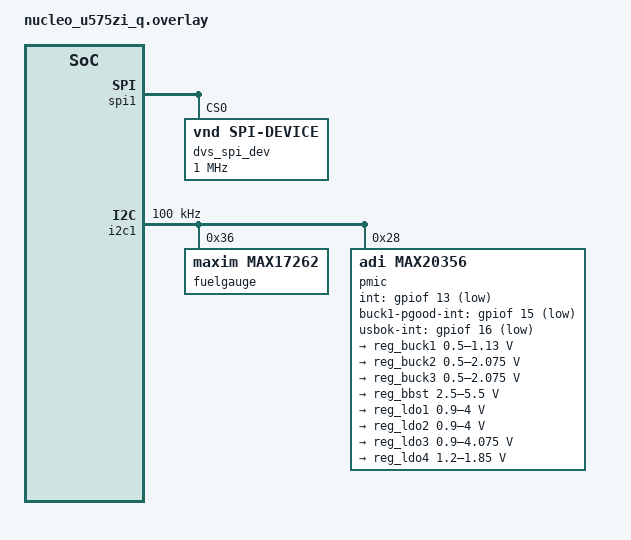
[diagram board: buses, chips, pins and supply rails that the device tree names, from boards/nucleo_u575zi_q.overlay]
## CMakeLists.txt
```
# SPDX-License-Identifier: Apache-2.0

cmake_minimum_required(VERSION 3.28.0)
find_package(Zephyr REQUIRED HINTS $ENV{ZEPHYR_BASE})
project(mfd_max20356_wdog)

FILE(GLOB app_sources src/*.c)
target_sources(app PRIVATE ${app_sources})
```

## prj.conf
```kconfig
CONFIG_PM_DEVICE=y
CONFIG_STDOUT_CONSOLE=y
CONFIG_I2C=y
CONFIG_MFD=y
CONFIG_GPIO=y
CONFIG_REGULATOR=y
CONFIG_SPI=y
CONFIG_CHARGER=y
CONFIG_SENSOR=y
CONFIG_WATCHDOG=y
CONFIG_MAX20356_TRIGGER_OWN_THREAD=y
```

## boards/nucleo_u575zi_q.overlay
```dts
/*
 * Copyright (c) 2026 Analog Devices Inc
 *
 * SPDX-License-Identifier: Apache-2.0
 *
 * Hardware configuration spec for the MAX20356 PMIC validation sample. Every
 * rail of the part is instantiated and a broad subset of the device-, charger-
 * and regulator-level init options is exercised so a probe can confirm the I2C
 * writes reached the chip.
 *
 * DVS: buck1/buck3 use I2C DVS (Mode 0) so their setpoint is software-driven and
 * probe-able; buck2 uses GPIO DVS (Mode 1) with an MPC pin pair selecting one of
 * four presets. SPI DVS (Mode 2) is intentionally not used here as it needs
 * MPC0/1/2 wired to an SPI controller.
 *
 * Each lockable rail (bucks, buck-boost, LDOs) sets adi,lock-enable so the
 * driver wraps register writes in the password sequence; this guarantees the
 * writes land even if the rail powered up OTP-locked, so a return of 0 from the
 * regulator API means the register actually changed.
 */

#include <zephyr/dt-bindings/i2c/i2c.h>
#include <zephyr/dt-bindings/mfd/max20356.h>

/* SPI DVS (Mode 2) target for buck3. On hardware the controller's CS/SCLK/DIN
 * must be wired to the PMIC's MPC0/MPC1/MPC2 pins. CONFIG_SPI must be set so the
 * SPI controller driver is built; otherwise SPI_DT_SPEC_GET references an
 * undefined controller device struct and the link fails.
 */
&spi1 {
	status = "okay";

	dvs_spi_dev: dvs-spi-dev@0 {
		compatible = "vnd,spi-device";
		reg = <0>;
		spi-max-frequency = <1000000>;
	};
};

dev: &i2c1 {
	status = "okay";
	clock-frequency = <I2C_BITRATE_STANDARD>;

	fuelgauge: max17262@36 {
		compatible = "maxim,max17262";
		reg = <0x36>;
		design-voltage = <3600>;
		desired-voltage = <3600>;
		desired-charging-current = <2000>;
		design-cap = <17000>;
		empty-voltage = <3300>;
		recovery-voltage = <3880>;
		charge-voltage = <3600>;
		status = "okay";
	};

	pmic: max20356@28 {
		compatible = "adi,max20356";
		reg = <0x28>;
		status = "okay";
		int-gpios = <&gpiof 13 GPIO_ACTIVE_LOW>;

		/* The watchdog is fed by reading Int5, so the charger/limiter reset
		 * this sample demonstrates only fires while nothing reads Int5. That
		 * holds here: the WDTmr interrupt is masked on INTB by default
		 * (IntMask5.WDTmrM resets to 0) and the sample registers no INTB
		 * callbacks, so no source asserts INTB and the parent never reads
		 * Int5 on its own. int-gpios is kept because MFD_MAX20356_TRIGGER
		 * (and therefore the WDT_MAX20356 driver) depends on it.
		 */

		/* SPI DVS (Mode 2) controller, wired to MPC0/MPC1/MPC2; shared by
		 * any buck child selecting adi,dvs-mode = "spi" (here buck3).
		 */
		spi-dvs = <&dvs_spi_dev>;

		/* MPC-routed interrupt watch lines (buck1-PGOOD / USBOK). */
		adi,buck1-pgood-int-gpios = <&gpiof 15 GPIO_ACTIVE_LOW>;
		adi,usbok-int-gpios = <&gpiof 16 GPIO_ACTIVE_LOW>;

		/* Device-level init: PwrCfg and MiscFunctions bits. */
		adi,intb-unmasked-in-shutdown;
		adi,active-discharge-constant;
		adi,rtc-ldo-off;
		adi,factory-mode-disabled;
		adi,ivmon-high-impedance;

		/* Input-limiter / SYS-regulation init block. */
		adi,input-current-limit-milliamp = <300>;
		adi,input-current-limit-max-milliamp = <450>;
		adi,input-current-limit-blanking-microsec = <1000>;
		adi,sys-discharge-in-recovery;
		adi,sys-min-voltage-microvolt = <3600000>;
		adi,sys-uvlo-threshold-microvolt = <3000000>;

		/* Boot / reset init block. */
		adi,power-reset-config = <5>;
		adi,soft-reset-keeps-registers;
		adi,boot-delay-milliseconds = <220>;
		adi,sys-uvlo-auto-retry;

		wdt: watchdog {
			compatible = "adi,max20356-watchdog";

			/* adi,lock-enable is intentionally omitted: the sample
			 * overrides WDCntl.WDRstType to the charger/limiter-only
			 * action with mfd_max20356_wdt_set_rsttype(), which writes
			 * WDCntl directly (no password sequence). Leaving the node
			 * unlocked keeps the arm and the override consistent.
			 */
		};

		gpio_mpc: gpio {
			compatible = "adi,max20356-gpio";
			gpio-controller;
			#gpio-cells = <2>;
			/* MPC3/MPC5 (buck2 GPIO DVS) and MPC6/MPC7 (rail enable
			 * routing) are consumed below, so expose only MPC0,1,2,4
			 * as GPIOs here is not possible per-pin; ngpios covers the
			 * controller and the driver rejects double-claimed pins.
			 */
			ngpios = <8>;
		};

		charger: charger {
			compatible = "adi,max20356-charger";

			/* Core CC/CV setpoints (standard charger API). */
			constant-charge-current-microamp = <100000>;
			constant-charge-voltage-microvolt = <4200000>;

			/* CC zones and control bits. */
			adi,cc1-enable;
			adi,cc2-charge-current-microamp = <200000>;
			adi,charge-autostop;
			adi,charge-auto-restart;
			adi,cc1-timer-limit;

			/* Recharge / precharge / done thresholds. */
			adi,recharge-threshold-microvolt = <100000>;
			adi,precharge-voltage-microvolt = <3000000>;
			adi,precharge-current-percent = <10>;
			adi,charge-done-current-percent = <10>;

			/* Safety timers. */
			adi,maintain-charge-timer-minutes = <30>;
			adi,precharge-timer-minutes = <60>;
			adi,cc1-fastcharge-timer-minutes = <120>;
			adi,safety-timer-minutes = <300>;

			/* Step charge. */
			adi,step-charge-hysteresis-microvolt = <300000>;
			adi,step-charge-rise-microvolt = <4000000>;

			/* JEITA thermal zones. */
			adi,cool-cc1-current-percent = <50>;
			adi,cool-batreg-offset-microvolt = <100000>;
			adi,cool-cc2-current-percent = <50>;
			adi,room-cc1-current-percent = <100>;
			adi,room-batreg-offset-microvolt = <0>;
			adi,room-cc2-current-percent = <100>;
			adi,warm-cc1-current-percent = <50>;
			adi,warm-batreg-offset-microvolt = <100000>;
			adi,warm-cc2-current-percent = <50>;
			adi,jeita-t1-cc1-celsius = <0>;
			adi,jeita-t2-cc1-celsius = <10>;
			adi,jeita-t3-cc1-celsius = <45>;
			adi,jeita-t4-cc1-celsius = <45>;
			adi,thermal-limit-celsius = <100>;
			adi,thermistor-pullup-ohms = <10000>;
			adi,thermistor-monitoring-mode = <3>;
		};

		regulators {
			compatible = "adi,max20356-regulator";

			/* MPC enable routing: MPC6 -> LSW2, MPC7 -> LSW3. These
			 * two rails are therefore enable-controlled by hardware
			 * (and sit in sequencing slot 7); the sample does not
			 * software-toggle them. Pins 0..2 are free, 3/5 are the
			 * buck2 GPIO DVS pair, 4 is free.
			 */
			adi,mpc-enable-rails =
				<MAX20356_MPC_NONE MAX20356_MPC_NONE MAX20356_MPC_NONE
				 MAX20356_MPC_NONE MAX20356_MPC_NONE MAX20356_MPC_NONE
				 MAX20356_MPC_LSW2 MAX20356_MPC_LSW3>;

			reg_buck1: buck1 {
				/* 10mV step -> 0.5-1.13V range. */
				adi,buck-voltage-step-microvolt = <10000>;
				regulator-min-microvolt = <500000>;
				regulator-max-microvolt = <1130000>;
				regulator-boot-on;
				adi,lock-enable;
				adi,sequence-slot = <1>;
				adi,buck-low-emi;
				adi,buck-forced-pwm;
				adi,buck-pgood-enable;
				adi,buck-passive-discharge;
				regulator-active-discharge = <1>;
			};

			reg_buck2: buck2 {
				/* 25mV step -> 0.5-2.075V range, GPIO DVS. */
				adi,buck-voltage-step-microvolt = <25000>;
				adi,dvs-mode = "gpio";
				adi,dvs-mpc-pair = <3 5>;
				adi,dvs-voltages =
					<1000000 1100000 1200000 1300000>;
				adi,dvs-valley-current-microamp = <1000000>;
				regulator-min-microvolt = <500000>;
				regulator-max-microvolt = <2075000>;
				adi,lock-enable;
				adi,buck-dvs-ipmax;
				adi,buck-low-bandwidth;
				adi,buck-force-dcm;
			};

			reg_buck3: buck3 {
				/* 25mV step -> 0.5-2.075V range, SPI DVS (Mode 2).
				 * The setpoint is clocked to the buck as a
				 * command byte over the parent's spi-dvs
				 * controller, whose CS/SCLK/DIN must be wired to
				 * MPC0/MPC1/MPC2.
				 */
				adi,buck-voltage-step-microvolt = <25000>;
				adi,dvs-mode = "spi";
				regulator-min-microvolt = <500000>;
				regulator-max-microvolt = <2075000>;
				adi,lock-enable;
				adi,buck-fast;
			};

			reg_bbst: buckboost {
				regulator-min-microvolt = <2500000>;
				regulator-max-microvolt = <5500000>;
				adi,lock-enable;
				adi,bbst-low-emi;
				adi,bbst-fast;
				adi,bbst-ramp-enable;
				adi,bbst-passive-discharge;
				adi,bbst-fhigh-threshold-kilohertz = <50>;
				regulator-active-discharge = <1>;
			};

			reg_ldo1: ldo1 {
				/* 0.9-4.0V, linear-regulator mode. */
				regulator-min-microvolt = <900000>;
				regulator-max-microvolt = <4000000>;
				regulator-initial-mode = <MAX20356_MODE_LDO>;
				regulator-allowed-modes =
					<MAX20356_MODE_LDO MAX20356_MODE_LOAD_SWITCH>;
				adi,lock-enable;
				adi,ldo1-passive-discharge;
			};

			reg_ldo2: ldo2 {
				/* 0.9-4.0V, load-switch mode selectable at runtime. */
				regulator-min-microvolt = <900000>;
				regulator-max-microvolt = <4000000>;
				regulator-initial-mode = <MAX20356_MODE_LOAD_SWITCH>;
				regulator-allowed-modes =
					<MAX20356_MODE_LDO MAX20356_MODE_LOAD_SWITCH>;
				adi,lock-enable;
				adi,ldo2-passive-discharge;
			};

			reg_ldo3: ldo3 {
				/* 0.9-4.075V, 25mV step. */
				regulator-min-microvolt = <900000>;
				regulator-max-microvolt = <4075000>;
				adi,lock-enable;
				adi,sequence-slot = <5>;
				adi,ldo3-no-clip-protection;
				adi,ldo3-passive-discharge;
			};

			reg_ldo4: ldo4 {
				/* RTC LDO: fixed voltage set. */
				regulator-min-microvolt = <1200000>;
				regulator-max-microvolt = <1850000>;
				adi,lock-enable;
				adi,ldo4-passive-discharge;
			};

			reg_lsw1: lsw1 {
				/* Load switch, software-enabled, non-lockable. */
				adi,lsw-low-iq;
				adi,lsw-passive-discharge;
			};

			reg_lsw2: lsw2 {
				/* Enable routed to MPC6; slot 7 required. */
				adi,sequence-slot = <7>;
			};

			reg_lsw3: lsw3 {
				/* Enable routed to MPC7; slot 7 required. */
				adi,sequence-slot = <7>;
			};
		};
	};
};
```

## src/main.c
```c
/*
 * Copyright (c) 2026 Analog Devices Inc.
 *
 * SPDX-License-Identifier: Apache-2.0
 *
 * MAX20356 PMIC watchdog charger-reset sample.
 *
 * Demonstrates the watchdog charger/limiter-only reset action (WDCntl.WDRstType
 * = 0b01): when the timer expires it resets the charger and input-limiter
 * registers to their defaults instead of resetting the SoC. The sample
 * configures the charger (modifying ChgCur0.CC1IFChg and enabling charging via
 * ChgCntl0.ChgEn) and the input limiter (ILimCtrl1/ILimCtrl2), records the charge
 * type and the limiter registers, arms the watchdog for reset type 1, feeds it a
 * few times to show normal servicing, then stops feeding so the timer expires.
 * After the reset it reads both back: the charge type should return to its
 * pre-configuration value and the limiter registers to their defaults, since both
 * the charger and the input limiter are in the reset scope.
 *
 * The MAX20356 keeps its register state across an SoC reboot (it has its own
 * power domain), so the MFD parent driver now soft-resets the device at init to
 * start from defaults; without that, "initial" readings here would be whatever a
 * previous run left behind.
 *
 * The watchdog is fed by reading Int5 (wdt_feed() performs that read), so the
 * reset only fires while nothing reads Int5. The WDTmr interrupt is masked on
 * INTB by default
 * (IntMask5.WDTmrM resets to 0) and this sample registers no INTB callbacks, so
 * no source asserts INTB and the parent never reads Int5 on its own. Reading the
 * charge type (Status0) during the wait does not feed the timer; only an Int5
 * read does.
 */

#include <zephyr/kernel.h>
#include <zephyr/device.h>
#include <zephyr/drivers/charger.h>
#include <zephyr/drivers/mfd/max20356.h>
#include <zephyr/drivers/watchdog.h>
#include <zephyr/sys/util.h>
#include <sys/errno.h>
#include <stdio.h>

/* Set to 1 to enable the register-level debug dumps (raw I2C reads of the
 * watchdog and charger registers through the public MFD helper). Left on by
 * default here as this is a bring-up sample; set to 0 to silence them.
 */
#define WDT_DEMO_DEBUG 1

/* Register addresses and field masks used by the optional debug dumps. These
 * mirror the private driver definitions in drivers/mfd/mfd_max20356.h (not a
 * public header) so the sample can read the registers back over I2C through the
 * public mfd_max20356_reg_read() helper and confirm the configuration landed.
 */
#define MAX20356_REG_STATUS0          0x01
#define MAX20356_STATUS0_CHGSTAT_MSK  GENMASK(3, 0)
#define MAX20356_REG_CHGCUR0          0x17
#define MAX20356_CHGCUR0_CC1IFCHG_MSK GENMASK(6, 0)
#define MAX20356_REG_CHGCNTL0         0x19
#define MAX20356_CHGCNTL0_CHGEN_MSK   BIT(7)
#define MAX20356_REG_WDCNTL           0x2A
#define MAX20356_WDCNTL_WDRSTTYPE_MSK GENMASK(3, 2)
#define MAX20356_WDCNTL_WDTMRSEL_MSK  GENMASK(1, 0)
#define MAX20356_REG_ILIMCTRL1          0x13
#define MAX20356_ILIMCTRL1_ILIMBLANK_MSK GENMASK(7, 6)
#define MAX20356_ILIMCTRL1_ILIMMAX_MSK   GENMASK(5, 3)
#define MAX20356_ILIMCTRL1_ILIMCNTL_MSK  GENMASK(2, 0)
#define MAX20356_REG_ILIMCTRL2          0x14
#define MAX20356_ILIMCTRL2_SYSDSCEN_MSK  BIT(5)
#define MAX20356_ILIMCTRL2_SYSMINVLT_MSK GENMASK(3, 0)

/* Shortest selectable watchdog window (WDTmrSel 0 => 4 s). */
#define WDT_DEMO_WINDOW_MS 4000U
/* Number of in-window feeds that demonstrate normal servicing before the fault.
 * Each wdt_feed() reads Int5 (the kick), which keeps the timer from expiring.
 */
#define WDT_DEMO_FEED_COUNT 3
/* How long to leave the watchdog unfed, in multiples of the window. The first
 * expiry after arming is ignored by the hardware (the first interval is
 * effectively doubled), so a reset lands roughly two windows after arming; wait
 * a couple more for margin.
 */
#define WDT_DEMO_FAULT_WINDOWS 4

#define WDT_DEMO_MODIFIED_ICHG_UA 300000

/* Input-limiter values the sample writes before arming the watchdog, chosen to
 * differ from the register defaults (ILimCtrl1 resets to 0x00, ILimCtrl2's
 * SysDSCEn/SysMinVlt reset to 0) so the writes are real changes; the
 * charger/limiter reset returns both registers to those defaults.
 */
#define WDT_DEMO_ILIMCTRL1_VAL                                                                      \
	(FIELD_PREP(MAX20356_ILIMCTRL1_ILIMBLANK_MSK, 0x2U) |                                       \
	 FIELD_PREP(MAX20356_ILIMCTRL1_ILIMMAX_MSK, 0x5U) |                                         \
	 FIELD_PREP(MAX20356_ILIMCTRL1_ILIMCNTL_MSK, 0x3U))
#define WDT_DEMO_ILIMCTRL1_MSK                                                                      \
	(MAX20356_ILIMCTRL1_ILIMBLANK_MSK | MAX20356_ILIMCTRL1_ILIMMAX_MSK |                        \
	 MAX20356_ILIMCTRL1_ILIMCNTL_MSK)
#define WDT_DEMO_ILIMCTRL2_VAL                                                                      \
	(MAX20356_ILIMCTRL2_SYSDSCEN_MSK | FIELD_PREP(MAX20356_ILIMCTRL2_SYSMINVLT_MSK, 0x8U))
#define WDT_DEMO_ILIMCTRL2_MSK                                                                      \
	(MAX20356_ILIMCTRL2_SYSDSCEN_MSK | MAX20356_ILIMCTRL2_SYSMINVLT_MSK)

static const char *now_str(void)
{
	static char buf[16]; /* ...HH:MM:SS.MMM */
	uint32_t now = k_uptime_get_32();
	unsigned int ms = now % MSEC_PER_SEC;
	unsigned int s;
	unsigned int min;
	unsigned int h;

	now /= MSEC_PER_SEC;
	s = now % 60U;
	now /= 60U;
	min = now % 60U;
	now /= 60U;
	h = now;

	snprintf(buf, sizeof(buf), "%u:%02u:%02u.%03u", h, min, s, ms);
	return buf;
}

static const char *charge_type_str(enum charger_charge_type type)
{
	switch (type) {
	case CHARGER_CHARGE_TYPE_NONE:
		return "none";
	case CHARGER_CHARGE_TYPE_TRICKLE:
		return "trickle";
	case CHARGER_CHARGE_TYPE_FAST:
		return "fast";
	case CHARGER_CHARGE_TYPE_STANDARD:
		return "standard";
	case CHARGER_CHARGE_TYPE_ADAPTIVE:
		return "adaptive";
	case CHARGER_CHARGE_TYPE_LONGLIFE:
		return "longlife";
	case CHARGER_CHARGE_TYPE_BYPASS:
		return "bypass";
	default:
		return "unknown";
	}
}

/* Live charge-type read: decoded from Status0.ChgStat, so it reflects the actual
 * charger register state rather than a cached software value. A charger/limiter
 * reset (WDRstType = 0b01) clears ChgCntl0.ChgEn, which the charger state machine
 * reports back here.
 */
static int read_charge_type(const struct device *chgdev, enum charger_charge_type *type)
{
	union charger_propval val;
	int ret;

	ret = charger_get_prop(chgdev, CHARGER_PROP_CHARGE_TYPE, &val);
	if (ret != 0) {
		return ret;
	}

	*type = val.charge_type;
	return 0;
}

#if WDT_DEMO_DEBUG
/* Dump the watchdog control register and decode its fields so the arm/reset-type
 * configuration can be verified against what was programmed.
 */
static void debug_dump_watchdog(const struct device *pmic)
{
	uint8_t wdcntl;
	int ret;

	ret = mfd_max20356_reg_read(pmic, MAX20356_REG_WDCNTL, &wdcntl);
	if (ret != 0) {
		printk("[%s]:   DBG WDCntl (0x%02x) read failed: %d\n", now_str(),
		       MAX20356_REG_WDCNTL, ret);
		return;
	}

	printk("[%s]:   DBG WDCntl   (0x%02x) = 0x%02x (WDRstType=%u, WDTmrSel=%u)\n", now_str(),
	       MAX20356_REG_WDCNTL, wdcntl,
	       (unsigned int)FIELD_GET(MAX20356_WDCNTL_WDRSTTYPE_MSK, wdcntl),
	       (unsigned int)FIELD_GET(MAX20356_WDCNTL_WDTMRSEL_MSK, wdcntl));
}

/* Dump the charger registers (Status0/ChgCur0/ChgCntl0) and decode the fields the
 * sample touches, so the configured state and the post-reset state can be
 * compared at the register level.
 */
static void debug_dump_charger(const struct device *pmic)
{
	uint8_t status0, chgcur0, chgcntl0;
	int ret;

	ret = mfd_max20356_reg_read(pmic, MAX20356_REG_STATUS0, &status0);
	if (ret == 0) {
		printk("[%s]:   DBG Status0  (0x%02x) = 0x%02x (ChgStat=%u)\n", now_str(),
		       MAX20356_REG_STATUS0, status0,
		       (unsigned int)FIELD_GET(MAX20356_STATUS0_CHGSTAT_MSK, status0));
	} else {
		printk("[%s]:   DBG Status0  (0x%02x) read failed: %d\n", now_str(),
		       MAX20356_REG_STATUS0, ret);
	}

	ret = mfd_max20356_reg_read(pmic, MAX20356_REG_CHGCUR0, &chgcur0);
	if (ret == 0) {
		printk("[%s]:   DBG ChgCur0  (0x%02x) = 0x%02x (CC1IFChg=%u)\n", now_str(),
		       MAX20356_REG_CHGCUR0, chgcur0,
		       (unsigned int)FIELD_GET(MAX20356_CHGCUR0_CC1IFCHG_MSK, chgcur0));
	} else {
		printk("[%s]:   DBG ChgCur0  (0x%02x) read failed: %d\n", now_str(),
		       MAX20356_REG_CHGCUR0, ret);
	}

	ret = mfd_max20356_reg_read(pmic, MAX20356_REG_CHGCNTL0, &chgcntl0);
	if (ret == 0) {
		printk("[%s]:   DBG ChgCntl0 (0x%02x) = 0x%02x (ChgEn=%u)\n", now_str(),
		       MAX20356_REG_CHGCNTL0, chgcntl0,
		       (unsigned int)FIELD_GET(MAX20356_CHGCNTL0_CHGEN_MSK, chgcntl0));
	} else {
		printk("[%s]:   DBG ChgCntl0 (0x%02x) read failed: %d\n", now_str(),
		       MAX20356_REG_CHGCNTL0, ret);
	}
}

/* Dump the input-limiter registers (ILimCtrl1/ILimCtrl2) and decode their fields.
 * These are in the charger/limiter reset scope, so they should return to their
 * defaults (ILimCtrl1 = 0x00; ILimCtrl2 SysDSCEn/SysMinVlt = 0) after the reset.
 */
static void debug_dump_limiter(const struct device *pmic)
{
	uint8_t ilim1, ilim2;
	int ret;

	ret = mfd_max20356_reg_read(pmic, MAX20356_REG_ILIMCTRL1, &ilim1);
	if (ret == 0) {
		printk("[%s]:   DBG ILimCtrl1 (0x%02x) = 0x%02x (ILimBlank=%u, ILimMax=%u, "
		       "ILimCntl=%u)\n", now_str(), MAX20356_REG_ILIMCTRL1, ilim1,
		       (unsigned int)FIELD_GET(MAX20356_ILIMCTRL1_ILIMBLANK_MSK, ilim1),
		       (unsigned int)FIELD_GET(MAX20356_ILIMCTRL1_ILIMMAX_MSK, ilim1),
		       (unsigned int)FIELD_GET(MAX20356_ILIMCTRL1_ILIMCNTL_MSK, ilim1));
	} else {
		printk("[%s]:   DBG ILimCtrl1 (0x%02x) read failed: %d\n", now_str(),
		       MAX20356_REG_ILIMCTRL1, ret);
	}

	ret = mfd_max20356_reg_read(pmic, MAX20356_REG_ILIMCTRL2, &ilim2);
	if (ret == 0) {
		printk("[%s]:   DBG ILimCtrl2 (0x%02x) = 0x%02x (SysDSCEn=%u, SysMinVlt=%u)\n",
		       now_str(), MAX20356_REG_ILIMCTRL2, ilim2,
		       (unsigned int)FIELD_GET(MAX20356_ILIMCTRL2_SYSDSCEN_MSK, ilim2),
		       (unsigned int)FIELD_GET(MAX20356_ILIMCTRL2_SYSMINVLT_MSK, ilim2));
	} else {
		printk("[%s]:   DBG ILimCtrl2 (0x%02x) read failed: %d\n", now_str(),
		       MAX20356_REG_ILIMCTRL2, ret);
	}
}
#else
static inline void debug_dump_watchdog(const struct device *pmic)
{
	ARG_UNUSED(pmic);
}
static inline void debug_dump_charger(const struct device *pmic)
{
	ARG_UNUSED(pmic);
}
static inline void debug_dump_limiter(const struct device *pmic)
{
	ARG_UNUSED(pmic);
}
#endif /* WDT_DEMO_DEBUG */

static int validate_watchdog_charger_reset(const struct device *pmic, const struct device *chgdev)
{
	union charger_propval ichg = {.const_charge_current_ua = WDT_DEMO_MODIFIED_ICHG_UA};
	struct wdt_timeout_cfg cfg = {
		.window = {.min = 0U, .max = WDT_DEMO_WINDOW_MS},
		.callback = NULL,
		/* A reset flag is required by the wdt API; the charger/limiter-only
		 * action (0b01) is not expressible through it, so it is applied
		 * separately below via mfd_max20356_wdt_set_rsttype().
		 */
		.flags = WDT_FLAG_RESET_CPU_CORE,
	};
	const struct device *wdtdev = DEVICE_DT_GET_OR_NULL(DT_NODELABEL(wdt));
	enum charger_charge_type initial_type;
	enum charger_charge_type final_type;
	uint8_t initial_ilim1 = 0, initial_ilim2 = 0;
	uint8_t final_ilim1 = 0, final_ilim2 = 0;
	int ret;

	printk("[%s]: === MAX20356 watchdog charger-reset test ===\n", now_str());

	if ((wdtdev == NULL) || !device_is_ready(wdtdev)) {
		printk("[%s]: watchdog device not ready\n", now_str());
		return -ENODEV;
	}

	/* Record the charge type before configuring the charger: this is the
	 * value the charger/limiter reset should restore.
	 */
	ret = read_charge_type(chgdev, &initial_type);
	if (ret != 0) {
		printk("[%s]: failed to read initial charge type: %d\n", now_str(), ret);
		return ret;
	}
	printk("[%s]: initial charge type: %s\n", now_str(), charge_type_str(initial_type));

	/* Modify a charger register (ChgCur0.CC1IFChg) and enable charging
	 * (ChgCntl0.ChgEn); both are reset by the charger/limiter reset action.
	 */
	ret = charger_set_prop(chgdev, CHARGER_PROP_CONSTANT_CHARGE_CURRENT_UA, &ichg);
	if (ret != 0) {
		printk("[%s]: failed to set fast-charge current: %d\n", now_str(), ret);
		return ret;
	}

	ret = charger_charge_enable(chgdev, false);
	if (ret != 0) {
		printk("[%s]: failed to enable charger: %d\n", now_str(), ret);
		return ret;
	}
	printk("[%s]: charger configured (charging enabled)\n", now_str());

	/* Also modify the input-limiter registers (ILimCtrl1/ILimCtrl2). These are
	 * in the charger/limiter reset scope, so the watchdog reset should return
	 * them to their defaults just like the charger registers.
	 */
	ret = mfd_max20356_reg_update(pmic, MAX20356_REG_ILIMCTRL1, WDT_DEMO_ILIMCTRL1_MSK,
				      WDT_DEMO_ILIMCTRL1_VAL);
	if (ret != 0) {
		printk("[%s]: failed to set ILimCtrl1: %d\n", now_str(), ret);
		return ret;
	}

	ret = mfd_max20356_reg_update(pmic, MAX20356_REG_ILIMCTRL2, WDT_DEMO_ILIMCTRL2_MSK,
				      WDT_DEMO_ILIMCTRL2_VAL);
	if (ret != 0) {
		printk("[%s]: failed to set ILimCtrl2: %d\n", now_str(), ret);
		return ret;
	}

	(void)mfd_max20356_reg_read(pmic, MAX20356_REG_ILIMCTRL1, &initial_ilim1);
	(void)mfd_max20356_reg_read(pmic, MAX20356_REG_ILIMCTRL2, &initial_ilim2);
	printk("[%s]: limiter configured (ILimCtrl1=0x%02x, ILimCtrl2=0x%02x)\n", now_str(),
	       initial_ilim1, initial_ilim2);

	/* Debug: confirm the charger and limiter registers took the configuration
	 * over I2C.
	 */
	debug_dump_charger(pmic);
	debug_dump_limiter(pmic);

	/* Arm the watchdog, then override the reset action to charger/limiter-only
	 * (WDRstType = 0b01). The override is a plain WDCntl write, so this sample's
	 * overlay leaves the watchdog node unlocked.
	 */
	ret = wdt_install_timeout(wdtdev, &cfg);
	if (ret != 0) {
		printk("[%s]: wdt_install_timeout failed: %d\n", now_str(), ret);
		return ret;
	}

	ret = wdt_setup(wdtdev, 0);
	if (ret != 0) {
		printk("[%s]: wdt_setup failed: %d\n", now_str(), ret);
		return ret;
	}

	ret = mfd_max20356_wdt_set_rsttype(pmic, MAX20356_WDT_CHG_LIM_RST);
	if (ret != 0) {
		printk("[%s]: failed to select charger/limiter reset: %d\n", now_str(), ret);
		(void)wdt_disable(wdtdev);
		return ret;
	}
	printk("[%s]: watchdog armed (window %u ms, reset type 1 = charger/limiter reset); "
	       "feeding %d times\n", now_str(), WDT_DEMO_WINDOW_MS, WDT_DEMO_FEED_COUNT);

	/* Debug: confirm the watchdog is armed with the expected timer interval and
	 * reset type (WDRstType should read 1, WDTmrSel 0).
	 */
	debug_dump_watchdog(pmic);

	/* Feed the watchdog a few times to show normal servicing. wdt_feed() reads
	 * Int5 (the kick), so the timer is restarted and the charger/limiter reset
	 * does not fire while feeding continues.
	 */
	for (int i = 0; i < WDT_DEMO_FEED_COUNT; i++) {
		/* Feed well inside the window to prove normal servicing works. */
		k_sleep(K_MSEC(WDT_DEMO_WINDOW_MS / 2U));
		ret = wdt_feed(wdtdev, 0);
		printk("[%s]:   feed %d -> %s (%d)\n", now_str(), i, (ret == 0) ? "ok" : "FAIL",
		       ret);
		if (ret != 0) {
			(void)wdt_disable(wdtdev);
			return ret;
		}
	}

	/* Stop feeding and let the timer expire. Nothing reads Int5 now, so the
	 * timer is never kicked and the charger/limiter reset fires.
	 */
	printk("[%s]: feeding stopped; waiting for charger-register reset...\n", now_str());

	for (int i = 0; i < WDT_DEMO_FAULT_WINDOWS; i++) {
		enum charger_charge_type type;

		k_sleep(K_MSEC(WDT_DEMO_WINDOW_MS));

		ret = read_charge_type(chgdev, &type);
		if (ret != 0) {
			printk("[%s]: failed to read charge type: %d\n", now_str(), ret);
			(void)wdt_disable(wdtdev);
			return ret;
		}
		printk("[%s]:   window %d: charge type = %s\n", now_str(), i, charge_type_str(type));
	}

	ret = read_charge_type(chgdev, &final_type);
	if (ret != 0) {
		printk("[%s]: failed to read final charge type: %d\n", now_str(), ret);
		(void)wdt_disable(wdtdev);
		return ret;
	}

	/* Stop the watchdog so it does not keep resetting the charger. */
	ret = wdt_disable(wdtdev);
	if (ret != 0) {
		printk("[%s]: wdt_disable failed: %d\n", now_str(), ret);
		return ret;
	}

	/* Read the limiter registers back after the reset: they are in the
	 * charger/limiter reset scope, so they should have returned to defaults.
	 */
	(void)mfd_max20356_reg_read(pmic, MAX20356_REG_ILIMCTRL1, &final_ilim1);
	(void)mfd_max20356_reg_read(pmic, MAX20356_REG_ILIMCTRL2, &final_ilim2);

	/* Debug: dump the charger and limiter registers after the reset. If the
	 * charger/limiter reset fired, the charger registers return to their
	 * defaults (ChgEn=0, CC1IFChg=0) and the limiter registers to theirs
	 * (ILimCtrl1=0x00, ILimCtrl2 SysDSCEn/SysMinVlt=0).
	 */
	debug_dump_charger(pmic);
	debug_dump_limiter(pmic);

	printk("[%s]: charge type after watchdog: %s (initial %s)\n", now_str(),
	       charge_type_str(final_type), charge_type_str(initial_type));
	printk("[%s]: limiter after watchdog: ILimCtrl1=0x%02x (was 0x%02x), "
	       "ILimCtrl2=0x%02x (was 0x%02x)\n", now_str(), final_ilim1, initial_ilim1,
	       final_ilim2, initial_ilim2);

	if (final_type == initial_type) {
		printk("[%s]: WDT charger-reset test PASSED: charge type returned to initial\n",
		       now_str());
	} else {
		/* On a bench with no battery or charge source the charger never
		 * leaves the not-charging state, so enabling it does not change the
		 * charge type and the reset is not observable this way. Report it as
		 * a soft result rather than a wiring failure.
		 */
		printk("[%s]: WDT charger-reset test: charge type unchanged from configured "
		       "state (expected if no charge source is attached)\n",
		       now_str());
	}

	/* The limiter registers reset to known defaults, so this check is
	 * observable without any external supply: a changed value means the reset
	 * did not take, an unchanged (still-configured) value means it did not fire.
	 */
	if ((final_ilim1 != initial_ilim1) || (final_ilim2 != initial_ilim2)) {
		printk("[%s]: limiter check PASSED: ILimCtrl1/2 reset by watchdog\n", now_str());
	} else {
		printk("[%s]: limiter check: ILimCtrl1/2 unchanged (reset did not fire)\n",
		       now_str());
	}

	return 0;
}

int main(void)
{
	const struct device *pmic = DEVICE_DT_GET_OR_NULL(DT_NODELABEL(pmic));
	const struct device *chgdev = DEVICE_DT_GET_OR_NULL(DT_NODELABEL(charger));

	/* The watchdog and charger route their register access through the MFD
	 * parent, so it must be up first. Its init priority runs ahead of the
	 * children; check here to fail early and clearly if it did not come up.
	 */
	if ((pmic == NULL) || !device_is_ready(pmic)) {
		printk("[%s]: MFD parent (MAX20356) not ready\n", now_str());
		return -ENODEV;
	}

	if ((chgdev == NULL) || !device_is_ready(chgdev)) {
		printk("[%s]: charger device not ready\n", now_str());
		return -ENODEV;
	}

	return validate_watchdog_charger_reset(pmic, chgdev);
}
```
